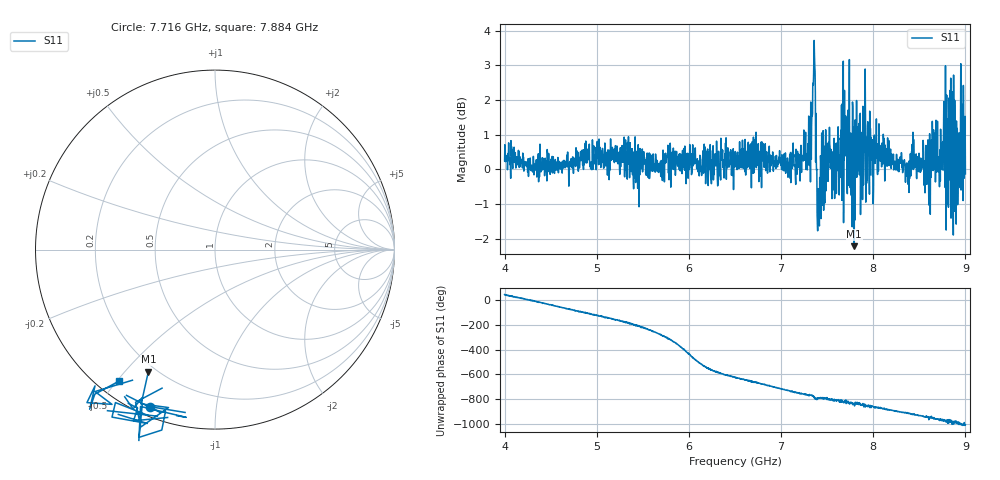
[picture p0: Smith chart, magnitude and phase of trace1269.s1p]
! Created with skrf 1.8.0 (http://scikit-rf.org).
# Hz S RI R 50.0
!freq ReS11 ImS11
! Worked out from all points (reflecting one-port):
!   1601 points, 4 GHz to 9 GHz, reference 50 ohm
!   lowest |S11| = -2.2 dB at 7.794 GHz (marker M1), VSWR 7.89, Z = 8.52 - j29 ohm
!   phase of S11 starts at 48 deg and turns -1056 deg over the sweep
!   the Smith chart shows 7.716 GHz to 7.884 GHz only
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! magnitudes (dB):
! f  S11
! 4 GHz  0.2
! 4.625 GHz  -0.1
! 5.25 GHz  -0.1
! 5.875 GHz  0.2
! 6.5 GHz  0.1
! 7.125 GHz  0.5
! 7.294 GHz  0.1
! 7.347 GHz  2.5
! 7.366 GHz  3.0
! 7.4 GHz  -0.8
! 7.412 GHz  -1.5
! 7.503 GHz  -0.2
! 7.606 GHz  0.0
! 7.681 GHz  0.6
! 7.75 GHz  -0.5
! 7.794 GHz  -2.2
! 7.834 GHz  0.8
! 7.962 GHz  1.7
! 7.981 GHz  0.3
! 8.375 GHz  0.1
! 8.441 GHz  0.4
! 8.603 GHz  -1.0
! 8.656 GHz  1.1
! 8.725 GHz  0.6
! 8.834 GHz  2.3
! 8.919 GHz  -0.4
! 8.972 GHz  0.6
! 9 GHz  -0.1
